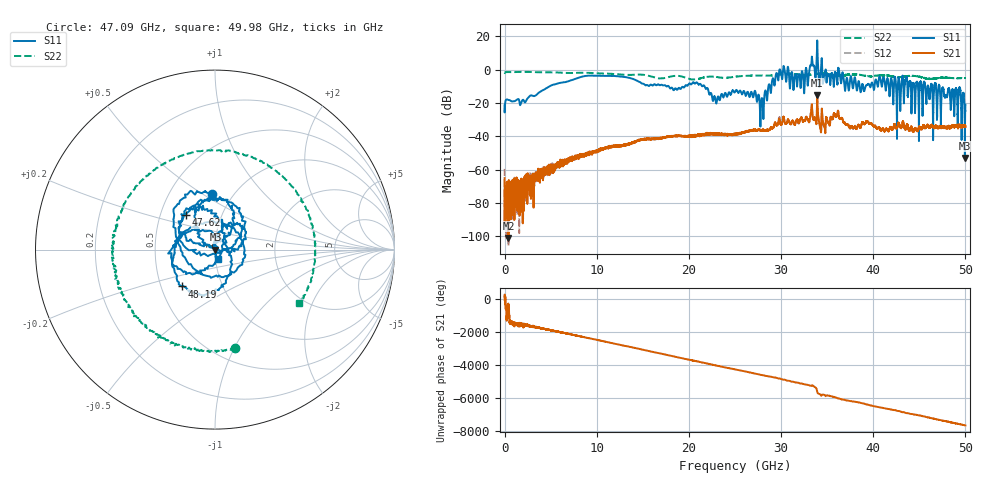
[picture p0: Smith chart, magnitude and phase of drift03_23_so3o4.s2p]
!Created with skrf (http://scikit-rf.org).
# Hz S RI R 50.0
!freq ReS11 ImS11 ReS21 ImS21 ReS12 ImS12 ReS22 ImS22
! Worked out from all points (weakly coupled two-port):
!   10001 points, 300 kHz to 50 GHz, reference 50 ohm
!   highest |S21| = -15.30 dB at 33.92 GHz (marker M1); lowest = -101.0 dB at 420.3 MHz (marker M2)
!   lowest |S11| = -53.0 dB at 49.95 GHz (marker M3), VSWR 1.00, Z = 50.2 + j0.0112 ohm
!   |S11| at or under -10 dB: start of sweep to 4.85 GHz; 21.69 GHz to 28.62 GHz (6.931 GHz wide, 27.6 % of centre); 47.19 GHz to end of sweep (the widest 3 of 41)
!   |S22| runs from -5.9 to -1.3 dB; largest |S21 - S12| = 0.018
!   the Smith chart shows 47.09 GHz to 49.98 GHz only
!   S11 on the Smith chart (normalised r, x): 47.09 GHz: 0.80, +0.55; 47.62 GHz: 0.67, +0.28; 48.19 GHz: 0.64, -0.28; 49.98 GHz: 1.03, -0.11
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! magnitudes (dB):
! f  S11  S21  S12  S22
! 300 kHz  -21.4  -65.1  -59.5  -2.0
! 420.3 MHz  -18.2  -101.0  -105.9  -1.4
! 8.335 GHz  -4.3  -51.7  -51.8  -1.9
! 16.67 GHz  -8.8  -41.7  -41.3  -5.2
! 21.01 GHz  -8.7  -38.9  -39.4  -5.5
! 22.81 GHz  -16.2  -38.5  -38.2  -4.2
! 25 GHz  -13.4  -38.7  -38.8  -4.3
! 27.02 GHz  -15.7  -36.3  -36.1  -3.5
! 27.92 GHz  -17.1  -36.3  -36.4  -3.5
! 29.69 GHz  -6.5  -32.0  -31.8  -3.1
! 32.32 GHz  -1.5  -30.4  -30.6  -3.3
! 33.34 GHz  7.7  -20.8  -21.1  -2.9
! 33.92 GHz  17.5  -15.3  -15.6  -2.5
! 38.82 GHz  -8.9  -31.5  -31.9  -3.4
! 41.67 GHz  -9.0  -36.8  -36.7  -3.7
! 42.76 GHz  -5.1  -32.0  -32.2  -4.6
! 47.09 GHz  -10.1  -34.6  -34.9  -5.0
! 47.62 GHz  -12.0  -34.6  -34.3  -4.7
! 48.19 GHz  -11.2  -34.3  -34.4  -4.9
! 49.95 GHz  -53.0  -34.1  -34.0  -5.0
! 49.98 GHz  -25.1  -34.1  -34.2  -5.1
! 50 GHz  -21.0  -34.3  -33.6  -5.0
